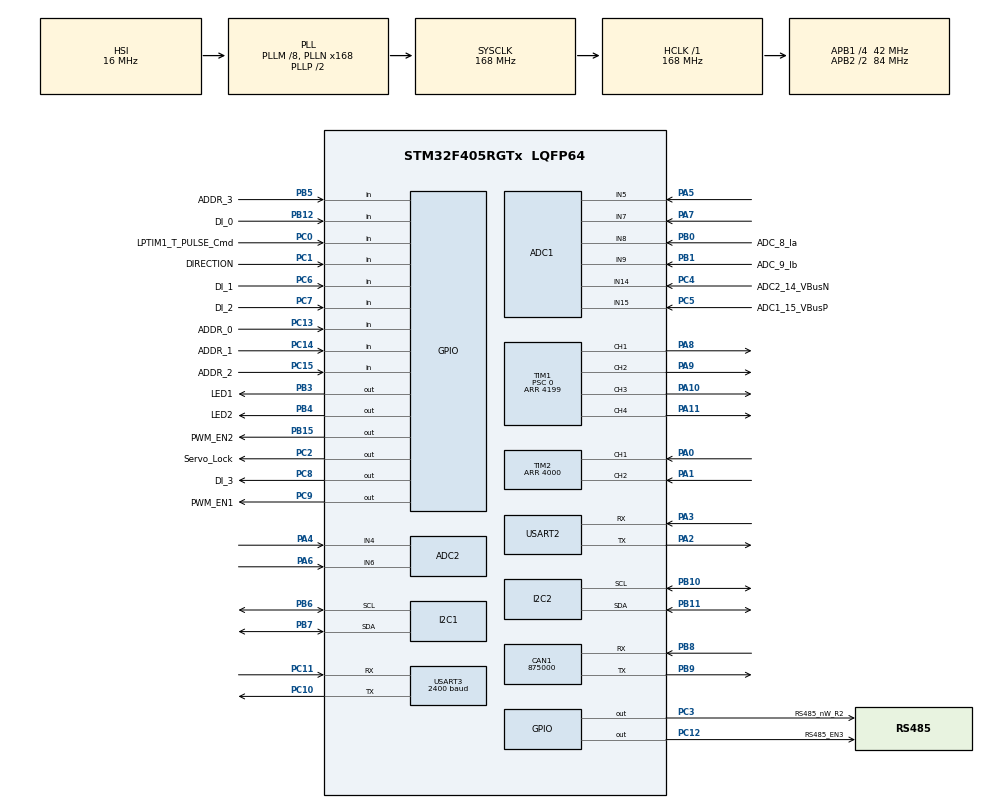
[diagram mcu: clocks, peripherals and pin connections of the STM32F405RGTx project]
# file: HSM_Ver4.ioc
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ADC1.Channel-0\#ChannelRegularConversion=ADC_CHANNEL_9
ADC1.Channel-2\#ChannelRegularConversion=ADC_CHANNEL_8
ADC1.ClockPrescaler=ADC_CLOCK_SYNC_PCLK_DIV4
ADC1.ContinuousConvMode=DISABLE
ADC1.EOCSelection=ADC_EOC_SEQ_CONV
ADC1.NbrOfConversion=2
ADC1.NbrOfConversionFlag=1
ADC1.Rank-0\#ChannelRegularConversion=1
ADC1.Rank-2\#ChannelRegularConversion=2
ADC1.SamplingTime-0\#ChannelRegularConversion=ADC_SAMPLETIME_3CYCLES
ADC1.SamplingTime-2\#ChannelRegularConversion=ADC_SAMPLETIME_3CYCLES
ADC1.ScanConvMode=ENABLE
ADC1.master=1
ADC2.Channel-0\#ChannelRegularConversion=ADC_CHANNEL_6
ADC2.ClockPrescaler=ADC_CLOCK_SYNC_PCLK_DIV4
ADC2.NbrOfConversionFlag=1
ADC2.Rank-0\#ChannelRegularConversion=1
ADC2.SamplingTime-0\#ChannelRegularConversion=ADC_SAMPLETIME_3CYCLES
CAN1.CalculateBaudRate=875000
CAN1.CalculateTimeBit=1142
CAN1.CalculateTimeQuantum=380.95238095238096
Dma.ADC1.0.Direction=DMA_PERIPH_TO_MEMORY
Dma.ADC1.0.FIFOMode=DMA_FIFOMODE_DISABLE
Dma.ADC1.0.Instance=DMA2_Stream0
Dma.ADC1.0.MemDataAlignment=DMA_MDATAALIGN_HALFWORD
Dma.ADC1.0.MemInc=DMA_MINC_ENABLE
Dma.ADC1.0.Mode=DMA_NORMAL
Dma.ADC1.0.PeriphDataAlignment=DMA_PDATAALIGN_HALFWORD
Dma.ADC1.0.PeriphInc=DMA_PINC_DISABLE
Dma.ADC1.0.Priority=DMA_PRIORITY_VERY_HIGH
Dma.Request0=ADC1
Mcu.Family=STM32F4
Mcu.Name=STM32F405RGTx
Mcu.Package=LQFP64
NVIC.DMA2_Stream0_IRQn=true\:0\:0\:false\:false\:true\:false\:true\:true
NVIC.PriorityGroup=NVIC_PRIORITYGROUP_4
NVIC.TIM1_UP_TIM10_IRQn=true\:1\:0\:true\:false\:true\:true\:true\:true
NVIC.TIM3_IRQn=true\:0\:0\:false\:false\:true\:true\:true\:true
PA0-WKUP.Signal=S_TIM2_CH1_ETR
PA1.Signal=S_TIM2_CH2
PA10.Signal=S_TIM1_CH3
PA11.Signal=S_TIM1_CH4
PA13.Mode=Serial_Wire
PA13.Signal=SYS_JTMS-SWDIO
PA14.Mode=Serial_Wire
PA14.Signal=SYS_JTCK-SWCLK
PA2.Mode=Asynchronous
PA2.Signal=USART2_TX
PA3.Mode=Asynchronous
PA3.Signal=USART2_RX
PA4.Signal=ADCx_IN4
PA5.Signal=ADCx_IN5
PA6.Signal=ADCx_IN6
PA7.Signal=ADCx_IN7
PA8.Signal=S_TIM1_CH1
PA9.Signal=S_TIM1_CH2
PB0.GPIO_Label=ADC_8_Ia
PB0.Signal=ADCx_IN8
PB1.GPIO_Label=ADC_9_Ib
PB1.Signal=ADCx_IN9
PB10.Mode=I2C
PB10.Signal=I2C2_SCL
PB11.Mode=I2C
PB11.Signal=I2C2_SDA
PB12.GPIO_Label=DI_0
PB12.GPIO_PuPd=GPIO_NOPULL
PB12.Signal=GPIO_Input
PB15.GPIO_Label=PWM_EN2
PB15.Signal=GPIO_Output
PB3.GPIO_Label=LED1
PB3.Signal=GPIO_Output
PB4.GPIO_Label=LED2
PB4.Signal=GPIO_Output
PB5.GPIO_Label=ADDR_3
PB5.Signal=GPIO_Input
PB6.Mode=I2C
PB6.Signal=I2C1_SCL
PB7.Mode=I2C
PB7.Signal=I2C1_SDA
PB8.Mode=CAN_Activate
PB8.Signal=CAN1_RX
PB9.Mode=CAN_Activate
PB9.Signal=CAN1_TX
PC0.GPIO_Label=LPTIM1_T_PULSE_Cmd
PC0.Signal=GPIO_Input
PC1.GPIO_Label=DIRECTION
PC1.Signal=GPIO_Input
PC10.Mode=Asynchronous
PC10.Signal=USART3_TX
PC11.Mode=Asynchronous
PC11.Signal=USART3_RX
PC12.GPIO_Label=RS485_EN3
PC12.Signal=GPIO_Output
PC13-ANTI_TAMP.GPIO_Label=ADDR_0
PC13-ANTI_TAMP.GPIO_PuPd=GPIO_PULLUP
PC13-ANTI_TAMP.Signal=GPIO_Input
PC14-OSC32_IN.GPIO_Label=ADDR_1
PC14-OSC32_IN.GPIO_PuPd=GPIO_PULLUP
PC14-OSC32_IN.Signal=GPIO_Input
PC15-OSC32_OUT.GPIO_Label=ADDR_2
PC15-OSC32_OUT.Signal=GPIO_Input
PC2.GPIO_Label=Servo_Lock
PC2.Signal=GPIO_Output
PC3.GPIO_Label=RS485_nW_R2
PC3.Signal=GPIO_Output
PC4.GPIO_Label=ADC2_14_VBusN
PC4.Signal=ADCx_IN14
PC5.GPIO_Label=ADC1_15_VBusP
PC5.Signal=ADCx_IN15
PC6.GPIO_Label=DI_1
PC6.GPIO_PuPd=GPIO_NOPULL
PC6.Signal=GPIO_Input
PC7.GPIO_Label=DI_2
PC7.Signal=GPIO_Input
PC8.GPIO_Label=DI_3
PC8.Signal=GPIO_Output
PC9.GPIO_Label=PWM_EN1
PC9.Signal=GPIO_Output
PH0-OSC_IN.Mode=HSE-External-Oscillator
PH0-OSC_IN.Signal=RCC_OSC_IN
PH1-OSC_OUT.Mode=HSE-External-Oscillator
PH1-OSC_OUT.Signal=RCC_OSC_OUT
ProjectManager.HeapSize=0x200
ProjectManager.StackSize=0x400
ProjectManager.TargetToolchain=MDK-ARM V5.32
RCC.48MHZClocksFreq_Value=84000000
RCC.AHBFreq_Value=168000000
RCC.APB1CLKDivider=RCC_HCLK_DIV4
RCC.APB1Freq_Value=42000000
RCC.APB1TimFreq_Value=84000000
RCC.APB2CLKDivider=RCC_HCLK_DIV2
RCC.APB2Freq_Value=84000000
RCC.APB2TimFreq_Value=168000000
RCC.CortexFreq_Value=168000000
RCC.HCLKFreq_Value=168000000
RCC.HSE_VALUE=25000000
RCC.HSI_VALUE=16000000
RCC.LSE_VALUE=32768
RCC.PLLM=8
RCC.PLLN=168
RCC.SYSCLKFreq_VALUE=168000000
RCC.SYSCLKSource=RCC_SYSCLKSOURCE_PLLCLK
RCC.VCOOutputFreq_Value=336000000
SH.ADCx_IN14.0=ADC1_IN14,IN14
SH.ADCx_IN15.0=ADC1_IN15,IN15
SH.ADCx_IN4.0=ADC2_IN4,IN4
SH.ADCx_IN5.0=ADC1_IN5,IN5
SH.ADCx_IN6.0=ADC2_IN6,IN6
SH.ADCx_IN7.0=ADC1_IN7,IN7
SH.ADCx_IN8.0=ADC1_IN8,IN8
SH.ADCx_IN9.0=ADC1_IN9,IN9
SH.S_TIM1_CH1.0=TIM1_CH1,PWM Generation1 CH1
SH.S_TIM1_CH2.0=TIM1_CH2,PWM Generation2 CH2
SH.S_TIM1_CH3.0=TIM1_CH3,PWM Generation3 CH3
SH.S_TIM1_CH4.0=TIM1_CH4,PWM Generation4 CH4
SH.S_TIM2_CH1_ETR.0=TIM2_CH1,Encoder_Interface
SH.S_TIM2_CH2.0=TIM2_CH2,Encoder_Interface
TIM1.AutoReloadPreload=TIM_AUTORELOAD_PRELOAD_ENABLE
TIM1.Channel-PWM\ Generation1\ CH1=TIM_CHANNEL_1
TIM1.Channel-PWM\ Generation2\ CH2=TIM_CHANNEL_2
TIM1.Channel-PWM\ Generation3\ CH3=TIM_CHANNEL_3
TIM1.Channel-PWM\ Generation4\ CH4=TIM_CHANNEL_4
TIM1.CounterMode=TIM_COUNTERMODE_CENTERALIGNED1
TIM1.Period=4199
TIM1.Prescaler=0
TIM1.RepetitionCounter=0
TIM2.EncoderMode=TIM_ENCODERMODE_TI12
TIM2.IC1Filter=10
TIM2.IC2Filter=10
TIM2.Period=4000
TIM3.Period=839
TIM3.Prescaler=100
TIM5.Prescaler=83
USART2.VirtualMode=VM_ASYNC
USART3.BaudRate=2400
USART3.VirtualMode=VM_ASYNC
VP_TIM1_VS_ClockSourceINT.Mode=Internal
VP_TIM3_VS_ClockSourceINT.Mode=Internal
VP_TIM5_VS_ClockSourceINT.Mode=Internal
board=custom

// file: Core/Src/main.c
/* USER CODE BEGIN Header */
/**
  ******************************************************************************
  * @file           : main.c
  * @brief          : Main program body
  ******************************************************************************
  * @attention
  *
  * Copyright (c) 2023 STMicroelectronics.
  * All rights reserved.
  *
  * This software is licensed under terms that can be found in the LICENSE file
  * in the root directory of this software component.
  * If no LICENSE file comes with this software, it is provided AS-IS.
  *
  ******************************************************************************
  */
/* USER CODE END Header */
#include "main.h"

ADC_HandleTypeDef hadc1;
ADC_HandleTypeDef hadc2;
DMA_HandleTypeDef hdma_adc1;

CAN_HandleTypeDef hcan1;

I2C_HandleTypeDef hi2c1;
I2C_HandleTypeDef hi2c2;

TIM_HandleTypeDef htim1;
TIM_HandleTypeDef htim2;
TIM_HandleTypeDef htim3;
TIM_HandleTypeDef htim5;

UART_HandleTypeDef huart2;
UART_HandleTypeDef huart3;

void SystemClock_Config(void);
static void MX_GPIO_Init(void);
static void MX_DMA_Init(void);
static void MX_ADC1_Init(void);
static void MX_ADC2_Init(void);
static void MX_CAN1_Init(void);
static void MX_I2C1_Init(void);
static void MX_I2C2_Init(void);
static void MX_TIM1_Init(void);
static void MX_TIM2_Init(void);
static void MX_USART3_UART_Init(void);
static void MX_TIM3_Init(void);
static void MX_TIM5_Init(void);
static void MX_USART2_UART_Init(void);

/* USER CODE BEGIN 0 */
	/*Initiate Variables*/
		HSM hsm_var; 							// hybrid stepper motor variable
		StateMachine mState_var;		// state of machine

		ENCODER_OBJECT encoder_var, theta_var;
		PI_OBJECT PI_Id_var, PI_Iq_var, PI_speed_var, P_position_var;
		ADC_OBJECT adc_var;

		FLAG flag_var;
		CONTROL_OBJECT control_var;
		SVPWM svpwm_var;
		LPF LPF_speed_var, LPF_current_var, LPF_voltage_var;
		UART uart_var;
		RAMP ramp_rpm_var;

		double ts_rpm = 20e-3;

		/*HAM NGAT TIMER********************************************/
		void HAL_TIM_PeriodElapsedCallback(TIM_HandleTypeDef *htim){
			/* Prevent unused argument(s) compilation warning */
			UNUSED(htim);
			/*USER CODE*/

//				if (htim->Instance == htim1.Instance)		// interrupt every 25us
//				{
//					if(control_var.Iq_fb > 5.5f)
//					{		Motor_Disable();
//							HAL_GPIO_WritePin(LED2_GPIO_Port, LED2_Pin, GPIO_PIN_RESET);		//error
//					}
//
//					/*------------------------------------------------------------------------*/
//					flag_var.flag_25us_50us++;
//					if(flag_var.flag_25us_50us >= 2)
//					{			// every 50us
//						flag_var.flag_25us_50us = 0;
//						CAL_CURRENT(&adc_var);
//						STATE_MACHINE_HANDLE();
//					}
//
//					flag_var.flag_25us++;
//					if(flag_var.flag_25us >= 40){			// every
//						flag_var.flag_25us = 0;
//						//SAVE_DATA(GET_C_DATA);
//						//SAVE_DATA(GET_S_DATA);
//					}
//				}

//				if (htim->Instance == htim3.Instance)		// interrupt every 1ms
//				{
//					if(mState_var.mSTATE == mRUN && mState_var.mCONTROL_MODE == CLOSE_LOOP_SPD)
//					{
//						flag_var.flag_1ms_20ms++;
//						if(flag_var.flag_1ms_20ms >= 20)  // every 20ms
//						{
//							flag_var.flag_1ms_20ms = 0;
//							CAL_SPEED(&encoder_var);
//							SPEED_LOOP(&control_var, &PI_speed_var, 120);
//							HAL_GPIO_TogglePin(LED1_GPIO_Port, LED1_Pin);
//						}
//					}
//				}
		}
/* USER CODE END 0 */

int main(void)
{

  /* MCU Configuration--------------------------------------------------------*/

  /* Reset of all peripherals, Initializes the Flash interface and the Systick. */
  HAL_Init();

  /* Configure the system clock */
  SystemClock_Config();

  /* Initialize all configured peripherals */
  MX_GPIO_Init();
  MX_DMA_Init();
  MX_ADC1_Init();
  MX_ADC2_Init();
  MX_CAN1_Init();
  MX_I2C1_Init();
  MX_I2C2_Init();
  MX_TIM1_Init();
  MX_TIM2_Init();
  MX_USART3_UART_Init();
  MX_TIM3_Init();
  MX_TIM5_Init();
  MX_USART2_UART_Init();
  /* USER CODE BEGIN 2 */
			HAL_GPIO_WritePin(LED1_GPIO_Port, LED1_Pin, GPIO_PIN_SET);		// 	disable led 1
			HAL_GPIO_WritePin(LED2_GPIO_Port, LED2_Pin, GPIO_PIN_SET);		//  disable led 2
			Motor_Disable();
		// BAT CHE DO PHAT XUNG PWM 2 KENH
			HAL_TIM_PWM_Start(&htim1, TIM_CHANNEL_1);
			HAL_TIM_PWM_Start(&htim1, TIM_CHANNEL_2);
			HAL_TIM_PWM_Start(&htim1, TIM_CHANNEL_3);
			HAL_TIM_PWM_Start(&htim1, TIM_CHANNEL_4);
		// START ADC
			HAL_ADC_Start(&hadc1);

		// CONFIG TIMER
			HAL_TIM_Base_Start_IT(&htim1); 			// PWM & control loop
			HAL_TIM_Base_Start_IT(&htim3);

			HAL_TIM_Base_Start(&htim5); 		 		//	counter timer - delay timer (not used yet)
			HAL_TIM_Encoder_Start(&htim2, TIM_CHANNEL_ALL);			// Encoder on htim 2
		// INIT FUNCTIONS
			MOTOR_Init(&hsm_var);

			FLAG_Init(&flag_var);
			ADC_Init(&adc_var);
			ENCODER_Init(&encoder_var, 1000, 4, ts_rpm);			// use for cal the speed
			ENCODER_Init(&theta_var, 1000, 4, NULL);		// use for count the received pulse, then cal the theta mechanical (rad)

			CONTROLLER_Init(&control_var, 50e-6);			/*CONTROLLER_Init(control var, Ts);*/
			SVPWM_Init(&svpwm_var);

			LPF_Init(&LPF_current_var, 1000, 0.00001);
			LPF_Init(&LPF_speed_var, 10, 0.01);
			LPF_Init(&LPF_voltage_var, 10, 0.01);

			PI_CURRENT_Init(&PI_Id_var, 50e-6);
			PI_CURRENT_Init(&PI_Iq_var, 50e-6);
			PI_SPEED_Init(&PI_speed_var, ts_rpm);

			UART_Init(&uart_var);
			RAMP_Init(&ramp_rpm_var, 1, 1, 0, hsm_var.Speed_max, ts_rpm);

			//STATE_MACHINE_Init(CLOSE_LOOP_I);

			STATE_MACHINE_Init(OPENLOOP);

			//STATE_MACHINE_Init(CLOSE_LOOP_SPD);

			Motor_Enable();

			float Ua = 12.0;
			float Ub = 18.0;
			float Da = Ua/24.0;
			float Db = Ub/24.0;

			float duty_a = (1.0+Da)/2.0;
			float duty_b = (1.0+Db)/2.0;

			htim1.Instance->CCR1 = 4200.0f*duty_a;
			htim1.Instance->CCR2 = 4200.0f*(1.0f - duty_a);
			htim1.Instance->CCR3 = 4200.0f*duty_b;
			htim1.Instance->CCR4 = 4200.0f*(1.0f - duty_b);

  /* USER CODE END 2 */

  /* Infinite loop */
  while (1)
  {

    /* USER CODE BEGIN 3 */
		SEND_DATA();

		HAL_GPIO_TogglePin(LED1_GPIO_Port, LED1_Pin);
		HAL_GPIO_TogglePin(LED2_GPIO_Port, LED2_Pin);
		HAL_Delay(1000);

  }
  /* USER CODE END 3 */
}

void SystemClock_Config(void)
{
  RCC_OscInitTypeDef RCC_OscInitStruct = {0};
  RCC_ClkInitTypeDef RCC_ClkInitStruct = {0};

  /** Configure the main internal regulator output voltage
  */
  __HAL_RCC_PWR_CLK_ENABLE();
  __HAL_PWR_VOLTAGESCALING_CONFIG(PWR_REGULATOR_VOLTAGE_SCALE1);

  /** Initializes the RCC Oscillators according to the specified parameters
  * in the RCC_OscInitTypeDef structure.
  */
  RCC_OscInitStruct.OscillatorType = RCC_OSCILLATORTYPE_HSI;
  RCC_OscInitStruct.HSIState = RCC_HSI_ON;
  RCC_OscInitStruct.HSICalibrationValue = RCC_HSICALIBRATION_DEFAULT;
  RCC_OscInitStruct.PLL.PLLState = RCC_PLL_ON;
  RCC_OscInitStruct.PLL.PLLSource = RCC_PLLSOURCE_HSI;
  RCC_OscInitStruct.PLL.PLLM = 8;
  RCC_OscInitStruct.PLL.PLLN = 168;
  RCC_OscInitStruct.PLL.PLLP = RCC_PLLP_DIV2;
  RCC_OscInitStruct.PLL.PLLQ = 4;
  if (HAL_RCC_OscConfig(&RCC_OscInitStruct) != HAL_OK)
  {
    Error_Handler();
  }

  /** Initializes the CPU, AHB and APB buses clocks
  */
  RCC_ClkInitStruct.ClockType = RCC_CLOCKTYPE_HCLK|RCC_CLOCKTYPE_SYSCLK
                              |RCC_CLOCKTYPE_PCLK1|RCC_CLOCKTYPE_PCLK2;
  RCC_ClkInitStruct.SYSCLKSource = RCC_SYSCLKSOURCE_PLLCLK;
  RCC_ClkInitStruct.AHBCLKDivider = RCC_SYSCLK_DIV1;
  RCC_ClkInitStruct.APB1CLKDivider = RCC_HCLK_DIV4;
  RCC_ClkInitStruct.APB2CLKDivider = RCC_HCLK_DIV2;

  if (HAL_RCC_ClockConfig(&RCC_ClkInitStruct, FLASH_LATENCY_5) != HAL_OK)
  {
    Error_Handler();
  }
}

static void MX_ADC1_Init(void)
{

  ADC_ChannelConfTypeDef sConfig = {0};

  /** Configure the global features of the ADC (Clock, Resolution, Data Alignment and number of conversion)
  */
  hadc1.Instance = ADC1;
  hadc1.Init.ClockPrescaler = ADC_CLOCK_SYNC_PCLK_DIV4;
  hadc1.Init.Resolution = ADC_RESOLUTION_12B;
  hadc1.Init.ScanConvMode = ENABLE;
  hadc1.Init.ContinuousConvMode = DISABLE;
  hadc1.Init.DiscontinuousConvMode = DISABLE;
  hadc1.Init.ExternalTrigConvEdge = ADC_EXTERNALTRIGCONVEDGE_NONE;
  hadc1.Init.ExternalTrigConv = ADC_SOFTWARE_START;
  hadc1.Init.DataAlign = ADC_DATAALIGN_RIGHT;
  hadc1.Init.NbrOfConversion = 2;
  hadc1.Init.DMAContinuousRequests = DISABLE;
  hadc1.Init.EOCSelection = ADC_EOC_SEQ_CONV;
  if (HAL_ADC_Init(&hadc1) != HAL_OK)
  {
    Error_Handler();
  }

  /** Configure for the selected ADC regular channel its corresponding rank in the sequencer and its sample time.
  */
  sConfig.Channel = ADC_CHANNEL_9;
  sConfig.Rank = 1;
  sConfig.SamplingTime = ADC_SAMPLETIME_3CYCLES;
  if (HAL_ADC_ConfigChannel(&hadc1, &sConfig) != HAL_OK)
  {
    Error_Handler();
  }

  /** Configure for the selected ADC regular channel its corresponding rank in the sequencer and its sample time.
  */
  sConfig.Channel = ADC_CHANNEL_8;
  sConfig.Rank = 2;
  if (HAL_ADC_ConfigChannel(&hadc1, &sConfig) != HAL_OK)
  {
    Error_Handler();
  }

}

static void MX_ADC2_Init(void)
{

  ADC_ChannelConfTypeDef sConfig = {0};

  /** Configure the global features of the ADC (Clock, Resolution, Data Alignment and number of conversion)
  */
  hadc2.Instance = ADC2;
  hadc2.Init.ClockPrescaler = ADC_CLOCK_SYNC_PCLK_DIV4;
  hadc2.Init.Resolution = ADC_RESOLUTION_12B;
  hadc2.Init.ScanConvMode = DISABLE;
  hadc2.Init.ContinuousConvMode = DISABLE;
  hadc2.Init.DiscontinuousConvMode = DISABLE;
  hadc2.Init.ExternalTrigConvEdge = ADC_EXTERNALTRIGCONVEDGE_NONE;
  hadc2.Init.ExternalTrigConv = ADC_SOFTWARE_START;
  hadc2.Init.DataAlign = ADC_DATAALIGN_RIGHT;
  hadc2.Init.NbrOfConversion = 1;
  hadc2.Init.DMAContinuousRequests = DISABLE;
  hadc2.Init.EOCSelection = ADC_EOC_SINGLE_CONV;
  if (HAL_ADC_Init(&hadc2) != HAL_OK)
  {
    Error_Handler();
  }

  /** Configure for the selected ADC regular channel its corresponding rank in the sequencer and its sample time.
  */
  sConfig.Channel = ADC_CHANNEL_6;
  sConfig.Rank = 1;
  sConfig.SamplingTime = ADC_SAMPLETIME_3CYCLES;
  if (HAL_ADC_ConfigChannel(&hadc2, &sConfig) != HAL_OK)
  {
    Error_Handler();
  }

}

static void MX_CAN1_Init(void)
{

  hcan1.Instance = CAN1;
  hcan1.Init.Prescaler = 16;
  hcan1.Init.Mode = CAN_MODE_NORMAL;
  hcan1.Init.SyncJumpWidth = CAN_SJW_1TQ;
  hcan1.Init.TimeSeg1 = CAN_BS1_1TQ;
  hcan1.Init.TimeSeg2 = CAN_BS2_1TQ;
  hcan1.Init.TimeTriggeredMode = DISABLE;
  hcan1.Init.AutoBusOff = DISABLE;
  hcan1.Init.AutoWakeUp = DISABLE;
  hcan1.Init.AutoRetransmission = DISABLE;
  hcan1.Init.ReceiveFifoLocked = DISABLE;
  hcan1.Init.TransmitFifoPriority = DISABLE;
  if (HAL_CAN_Init(&hcan1) != HAL_OK)
  {
    Error_Handler();
  }

}

static void MX_I2C1_Init(void)
{

  hi2c1.Instance = I2C1;
  hi2c1.Init.ClockSpeed = 100000;
  hi2c1.Init.DutyCycle = I2C_DUTYCYCLE_2;
  hi2c1.Init.OwnAddress1 = 0;
  hi2c1.Init.AddressingMode = I2C_ADDRESSINGMODE_7BIT;
  hi2c1.Init.DualAddressMode = I2C_DUALADDRESS_DISABLE;
  hi2c1.Init.OwnAddress2 = 0;
  hi2c1.Init.GeneralCallMode = I2C_GENERALCALL_DISABLE;
  hi2c1.Init.NoStretchMode = I2C_NOSTRETCH_DISABLE;
  if (HAL_I2C_Init(&hi2c1) != HAL_OK)
  {
    Error_Handler();
  }

}

static void MX_I2C2_Init(void)
{

  hi2c2.Instance = I2C2;
  hi2c2.Init.ClockSpeed = 100000;
  hi2c2.Init.DutyCycle = I2C_DUTYCYCLE_2;
  hi2c2.Init.OwnAddress1 = 0;
  hi2c2.Init.AddressingMode = I2C_ADDRESSINGMODE_7BIT;
  hi2c2.Init.DualAddressMode = I2C_DUALADDRESS_DISABLE;
  hi2c2.Init.OwnAddress2 = 0;
  hi2c2.Init.GeneralCallMode = I2C_GENERALCALL_DISABLE;
  hi2c2.Init.NoStretchMode = I2C_NOSTRETCH_DISABLE;
  if (HAL_I2C_Init(&hi2c2) != HAL_OK)
  {
    Error_Handler();
  }

}

static void MX_TIM1_Init(void)
{

  TIM_ClockConfigTypeDef sClockSourceConfig = {0};
  TIM_MasterConfigTypeDef sMasterConfig = {0};
  TIM_OC_InitTypeDef sConfigOC = {0};
  TIM_BreakDeadTimeConfigTypeDef sBreakDeadTimeConfig = {0};

  htim1.Instance = TIM1;
  htim1.Init.Prescaler = 0;
  htim1.Init.CounterMode = TIM_COUNTERMODE_CENTERALIGNED1;
  htim1.Init.Period = 4199;
  htim1.Init.ClockDivision = TIM_CLOCKDIVISION_DIV1;
  htim1.Init.RepetitionCounter = 0;
  htim1.Init.AutoReloadPreload = TIM_AUTORELOAD_PRELOAD_ENABLE;
  if (HAL_TIM_Base_Init(&htim1) != HAL_OK)
  {
    Error_Handler();
  }
  sClockSourceConfig.ClockSource = TIM_CLOCKSOURCE_INTERNAL;
  if (HAL_TIM_ConfigClockSource(&htim1, &sClockSourceConfig) != HAL_OK)
  {
    Error_Handler();
  }
  if (HAL_TIM_PWM_Init(&htim1) != HAL_OK)
  {
    Error_Handler();
  }
  sMasterConfig.MasterOutputTrigger = TIM_TRGO_RESET;
  sMasterConfig.MasterSlaveMode = TIM_MASTERSLAVEMODE_DISABLE;
  if (HAL_TIMEx_MasterConfigSynchronization(&htim1, &sMasterConfig) != HAL_OK)
  {
    Error_Handler();
  }
  sConfigOC.OCMode = TIM_OCMODE_PWM1;
  sConfigOC.Pulse = 0;
  sConfigOC.OCPolarity = TIM_OCPOLARITY_HIGH;
  sConfigOC.OCNPolarity = TIM_OCNPOLARITY_HIGH;
  sConfigOC.OCFastMode = TIM_OCFAST_DISABLE;
  sConfigOC.OCIdleState = TIM_OCIDLESTATE_RESET;
  sConfigOC.OCNIdleState = TIM_OCNIDLESTATE_RESET;
  if (HAL_TIM_PWM_ConfigChannel(&htim1, &sConfigOC, TIM_CHANNEL_1) != HAL_OK)
  {
    Error_Handler();
  }
  if (HAL_TIM_PWM_ConfigChannel(&htim1, &sConfigOC, TIM_CHANNEL_2) != HAL_OK)
  {
    Error_Handler();
  }
  if (HAL_TIM_PWM_ConfigChannel(&htim1, &sConfigOC, TIM_CHANNEL_3) != HAL_OK)
  {
    Error_Handler();
  }
  if (HAL_TIM_PWM_ConfigChannel(&htim1, &sConfigOC, TIM_CHANNEL_4) != HAL_OK)
  {
    Error_Handler();
  }
  sBreakDeadTimeConfig.OffStateRunMode = TIM_OSSR_DISABLE;
  sBreakDeadTimeConfig.OffStateIDLEMode = TIM_OSSI_DISABLE;
  sBreakDeadTimeConfig.LockLevel = TIM_LOCKLEVEL_OFF;
  sBreakDeadTimeConfig.DeadTime = 0;
  sBreakDeadTimeConfig.BreakState = TIM_BREAK_DISABLE;
  sBreakDeadTimeConfig.BreakPolarity = TIM_BREAKPOLARITY_HIGH;
  sBreakDeadTimeConfig.AutomaticOutput = TIM_AUTOMATICOUTPUT_DISABLE;
  if (HAL_TIMEx_ConfigBreakDeadTime(&htim1, &sBreakDeadTimeConfig) != HAL_OK)
  {
    Error_Handler();
  }
  HAL_TIM_MspPostInit(&htim1);

}

static void MX_TIM2_Init(void)
{

  TIM_Encoder_InitTypeDef sConfig = {0};
  TIM_MasterConfigTypeDef sMasterConfig = {0};

  htim2.Instance = TIM2;
  htim2.Init.Prescaler = 0;
  htim2.Init.CounterMode = TIM_COUNTERMODE_UP;
  htim2.Init.Period = 4000;
  htim2.Init.ClockDivision = TIM_CLOCKDIVISION_DIV1;
  htim2.Init.AutoReloadPreload = TIM_AUTORELOAD_PRELOAD_DISABLE;
  sConfig.EncoderMode = TIM_ENCODERMODE_TI12;
  sConfig.IC1Polarity = TIM_ICPOLARITY_RISING;
  sConfig.IC1Selection = TIM_ICSELECTION_DIRECTTI;
  sConfig.IC1Prescaler = TIM_ICPSC_DIV1;
  sConfig.IC1Filter = 10;
  sConfig.IC2Polarity = TIM_ICPOLARITY_RISING;
  sConfig.IC2Selection = TIM_ICSELECTION_DIRECTTI;
  sConfig.IC2Prescaler = TIM_ICPSC_DIV1;
  sConfig.IC2Filter = 10;
  if (HAL_TIM_Encoder_Init(&htim2, &sConfig) != HAL_OK)
  {
    Error_Handler();
  }
  sMasterConfig.MasterOutputTrigger = TIM_TRGO_RESET;
  sMasterConfig.MasterSlaveMode = TIM_MASTERSLAVEMODE_DISABLE;
  if (HAL_TIMEx_MasterConfigSynchronization(&htim2, &sMasterConfig) != HAL_OK)
  {
    Error_Handler();
  }

}

static void MX_TIM3_Init(void)
{

  TIM_ClockConfigTypeDef sClockSourceConfig = {0};
  TIM_MasterConfigTypeDef sMasterConfig = {0};

  htim3.Instance = TIM3;
  htim3.Init.Prescaler = 100;
  htim3.Init.CounterMode = TIM_COUNTERMODE_UP;
  htim3.Init.Period = 839;
  htim3.Init.ClockDivision = TIM_CLOCKDIVISION_DIV1;
  htim3.Init.AutoReloadPreload = TIM_AUTORELOAD_PRELOAD_DISABLE;
  if (HAL_TIM_Base_Init(&htim3) != HAL_OK)
  {
    Error_Handler();
  }
  sClockSourceConfig.ClockSource = TIM_CLOCKSOURCE_INTERNAL;
  if (HAL_TIM_ConfigClockSource(&htim3, &sClockSourceConfig) != HAL_OK)
  {
    Error_Handler();
  }
  sMasterConfig.MasterOutputTrigger = TIM_TRGO_RESET;
  sMasterConfig.MasterSlaveMode = TIM_MASTERSLAVEMODE_DISABLE;
  if (HAL_TIMEx_MasterConfigSynchronization(&htim3, &sMasterConfig) != HAL_OK)
  {
    Error_Handler();
  }

}

static void MX_TIM5_Init(void)
{

  TIM_ClockConfigTypeDef sClockSourceConfig = {0};
  TIM_MasterConfigTypeDef sMasterConfig = {0};

  htim5.Instance = TIM5;
  htim5.Init.Prescaler = 83;
  htim5.Init.CounterMode = TIM_COUNTERMODE_UP;
  htim5.Init.Period = 4294967295;
  htim5.Init.ClockDivision = TIM_CLOCKDIVISION_DIV1;
  htim5.Init.AutoReloadPreload = TIM_AUTORELOAD_PRELOAD_DISABLE;
  if (HAL_TIM_Base_Init(&htim5) != HAL_OK)
  {
    Error_Handler();
  }
  sClockSourceConfig.ClockSource = TIM_CLOCKSOURCE_INTERNAL;
  if (HAL_TIM_ConfigClockSource(&htim5, &sClockSourceConfig) != HAL_OK)
  {
    Error_Handler();
  }
  sMasterConfig.MasterOutputTrigger = TIM_TRGO_RESET;
  sMasterConfig.MasterSlaveMode = TIM_MASTERSLAVEMODE_DISABLE;
  if (HAL_TIMEx_MasterConfigSynchronization(&htim5, &sMasterConfig) != HAL_OK)
  {
    Error_Handler();
  }

}

static void MX_USART2_UART_Init(void)
{

  huart2.Instance = USART2;
  huart2.Init.BaudRate = 115200;
  huart2.Init.WordLength = UART_WORDLENGTH_8B;
  huart2.Init.StopBits = UART_STOPBITS_1;
  huart2.Init.Parity = UART_PARITY_NONE;
  huart2.Init.Mode = UART_MODE_TX_RX;
  huart2.Init.HwFlowCtl = UART_HWCONTROL_NONE;
  huart2.Init.OverSampling = UART_OVERSAMPLING_16;
  if (HAL_UART_Init(&huart2) != HAL_OK)
  {
    Error_Handler();
  }

}

static void MX_USART3_UART_Init(void)
{

  huart3.Instance = USART3;
  huart3.Init.BaudRate = 2400;
  huart3.Init.WordLength = UART_WORDLENGTH_8B;
  huart3.Init.StopBits = UART_STOPBITS_1;
  huart3.Init.Parity = UART_PARITY_NONE;
  huart3.Init.Mode = UART_MODE_TX_RX;
  huart3.Init.HwFlowCtl = UART_HWCONTROL_NONE;
  huart3.Init.OverSampling = UART_OVERSAMPLING_16;
  if (HAL_UART_Init(&huart3) != HAL_OK)
  {
    Error_Handler();
  }

}

static void MX_DMA_Init(void)
{

  /* DMA controller clock enable */
  __HAL_RCC_DMA2_CLK_ENABLE();

  /* DMA interrupt init */
  /* DMA2_Stream0_IRQn interrupt configuration */
  HAL_NVIC_SetPriority(DMA2_Stream0_IRQn, 0, 0);
  HAL_NVIC_EnableIRQ(DMA2_Stream0_IRQn);

}

static void MX_GPIO_Init(void)
{
  GPIO_InitTypeDef GPIO_InitStruct = {0};

  /* GPIO Ports Clock Enable */
  __HAL_RCC_GPIOC_CLK_ENABLE();
  __HAL_RCC_GPIOH_CLK_ENABLE();
  __HAL_RCC_GPIOA_CLK_ENABLE();
  __HAL_RCC_GPIOB_CLK_ENABLE();

  /*Configure GPIO pin Output Level */
  HAL_GPIO_WritePin(GPIOC, Servo_Lock_Pin|RS485_nW_R2_Pin|DI_3_Pin|PWM_EN1_Pin
                          |RS485_EN3_Pin, GPIO_PIN_RESET);

  /*Configure GPIO pin Output Level */
  HAL_GPIO_WritePin(GPIOB, PWM_EN2_Pin|LED1_Pin|LED2_Pin, GPIO_PIN_RESET);

  /*Configure GPIO pins : ADDR_0_Pin ADDR_1_Pin */
  GPIO_InitStruct.Pin = ADDR_0_Pin|ADDR_1_Pin;
  GPIO_InitStruct.Mode = GPIO_MODE_INPUT;
  GPIO_InitStruct.Pull = GPIO_PULLUP;
  HAL_GPIO_Init(GPIOC, &GPIO_InitStruct);

  /*Configure GPIO pins : ADDR_2_Pin LPTIM1_T_PULSE_Cmd_Pin DIRECTION_Pin DI_1_Pin
                           DI_2_Pin */
  GPIO_InitStruct.Pin = ADDR_2_Pin|LPTIM1_T_PULSE_Cmd_Pin|DIRECTION_Pin|DI_1_Pin
                          |DI_2_Pin;
  GPIO_InitStruct.Mode = GPIO_MODE_INPUT;
  GPIO_InitStruct.Pull = GPIO_NOPULL;
  HAL_GPIO_Init(GPIOC, &GPIO_InitStruct);

  /*Configure GPIO pins : Servo_Lock_Pin RS485_nW_R2_Pin DI_3_Pin PWM_EN1_Pin
                           RS485_EN3_Pin */
  GPIO_InitStruct.Pin = Servo_Lock_Pin|RS485_nW_R2_Pin|DI_3_Pin|PWM_EN1_Pin
                          |RS485_EN3_Pin;
  GPIO_InitStruct.Mode = GPIO_MODE_OUTPUT_PP;
  GPIO_InitStruct.Pull = GPIO_NOPULL;
  GPIO_InitStruct.Speed = GPIO_SPEED_FREQ_LOW;
  HAL_GPIO_Init(GPIOC, &GPIO_InitStruct);

  /*Configure GPIO pins : DI_0_Pin ADDR_3_Pin */
  GPIO_InitStruct.Pin = DI_0_Pin|ADDR_3_Pin;
  GPIO_InitStruct.Mode = GPIO_MODE_INPUT;
  GPIO_InitStruct.Pull = GPIO_NOPULL;
  HAL_GPIO_Init(GPIOB, &GPIO_InitStruct);

  /*Configure GPIO pins : PWM_EN2_Pin LED1_Pin LED2_Pin */
  GPIO_InitStruct.Pin = PWM_EN2_Pin|LED1_Pin|LED2_Pin;
  GPIO_InitStruct.Mode = GPIO_MODE_OUTPUT_PP;
  GPIO_InitStruct.Pull = GPIO_NOPULL;
  GPIO_InitStruct.Speed = GPIO_SPEED_FREQ_LOW;
  HAL_GPIO_Init(GPIOB, &GPIO_InitStruct);

}

void Error_Handler(void)
{
  __disable_irq();
  while (1)
  {
  }
}
